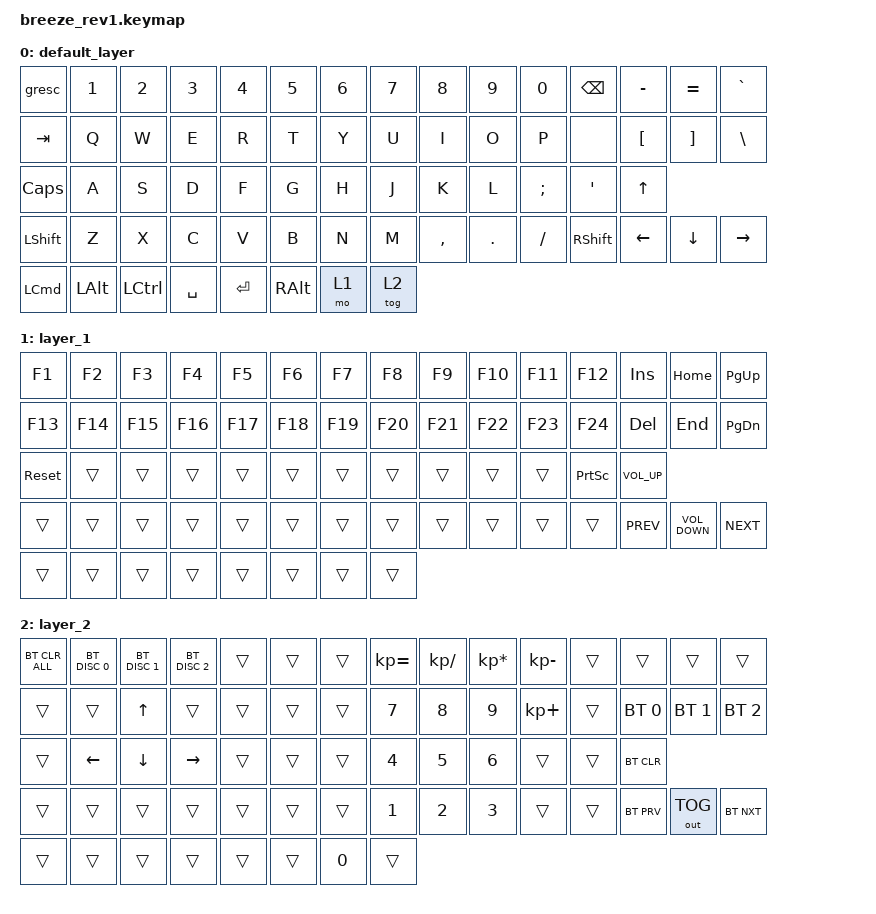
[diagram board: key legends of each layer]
/*
 * Copyright (c) 2022 The ZMK Contributors
 *
 * SPDX-License-Identifier: MIT
 */

#include <behaviors.dtsi>
#include <dt-bindings/zmk/bt.h>
#include <dt-bindings/zmk/keys.h>
#include <dt-bindings/zmk/outputs.h>

#define DEFAULT 0
#define MAC 1
#define WINMOD 2
#define MACMOD 3
#define WINPAD 4
#define MACPAD 5

/ {
    macros {
        wsshot: wsshot {
            label = "Windows screenshot";
            compatible = "zmk,behavior-macro";
            #binding-cells = <0>;
            bindings =
                <&macro_press>,
                <&kp LSHFT &kp LGUI>,
                <&macro_tap>,
                <&kp S>,
                <&macro_release>,
                <&kp LSHFT &kp LGUI>;
        };

        wpdesk: wpdesk {
            label = "Windows previous desktop";
            compatible = "zmk,behavior-macro";
            #binding-cells = <0>;
            bindings =
                <&macro_press>,
                <&kp LCTRL &kp LGUI>,
                <&macro_tap>,
                <&kp LEFT>,
                <&macro_release>,
                <&kp LCTRL &kp LGUI>;
        };

        wndesk: wndesk {
            label = "Windows next desktop";
            compatible = "zmk,behavior-macro";
            #binding-cells = <0>;
            bindings =
                <&macro_press>,
                <&kp LCTRL &kp LGUI>,
                <&macro_tap>,
                <&kp RIGHT>,
                <&macro_release>,
                <&kp LCTRL &kp LGUI>;
        };

        mpdesk: mpdesk {
            label = "Mac previous desktop";
            compatible = "zmk,behavior-macro";
            #binding-cells = <0>;
            bindings =
                <&macro_press>,
                <&kp LCTRL>,
                <&macro_tap>,
                <&kp LEFT>,
                <&macro_release>,
                <&kp LCTRL>;
        };

        mndesk: mndesk {
            label = "Mac next desktop";
            compatible = "zmk,behavior-macro";
            #binding-cells = <0>;
            bindings =
                <&macro_press>,
                <&kp LCTRL>,
                <&macro_tap>,
                <&kp RIGHT>,
                <&macro_release>,
                <&kp LCTRL>;
        };

        mmcontrol: mmcontrol {
            label = "Mac mission control";
            compatible = "zmk,behavior-macro";
            #binding-cells = <0>;
            bindings =
                <&macro_press>,
                <&kp LCTRL>,
                <&macro_tap>,
                <&kp UP>,
                <&macro_release>,
                <&kp LCTRL>;
        };

        mcapp: mcapp {
            label = "Mac windows in current app";
            compatible = "zmk,behavior-macro";
            #binding-cells = <0>;
            bindings =
                <&macro_press>,
                <&kp LCTRL>,
                <&macro_tap>,
                <&kp DOWN>,
                <&macro_release>,
                <&kp LCTRL>;
        };

        mwcycle: mwcycle {
            label = "Same app window cycle";
            compatible = "zmk,behavior-macro";
            #binding-cells = <0>;
            bindings =
                <&macro_press>,
                <&kp LGUI>,
                <&macro_tap>,
                <&kp GRAVE>,
                <&macro_release>,
                <&kp LCTRL>;
        };
    };

    keymap {
        compatible = "zmk,keymap";

        default_layer {
            // Ref: https://zmkfirmware.dev/docs/codes/
            //  ----------------------------------------                       ------------------------------------------------------------------
            // |  ESC  |  1  |  2  |  3   |  4   |  5   |                     |  6   |  7    |  8    |  9   |   0   |  \   | | INS | HOME | PGUP |
            // |-------|-----|-----|------|------|------|                     |------|-------|-------|------|-------|------| |-----|------|------|
            // |  TAB  |  Q  |  W  |  E   |  R   |  T   |                     |  Y   |  U    |  I    |  O   |   P   |  [   | | DEL | END  | PGDN |
            // |-------|-----|-----|------|------|------|                     |------|-------|-------|------|-------|------|  -----|------|----- |
            // | SHIFT |  A  |  S  |  D   |  F   |  G   |                     |  H   |  J    |  K    |  L   |   ;   |  '   |       |  UP  |      |
            // |-------|-----|-----|------|------|------|                     |------|-------|-------|------|-------|------|  -----|------|----- |
            // | LCTRL |  Z  |  X  |  C   |  V   |  B   |                     |  N   |  M    |  ,    |  .   |   /   |  =   | |LEFT | DOWN |RIGHT |
            //  ---------------- ----------------------------              ------------------------------ ---------------------------------------
            //                  |WINMOD| LGUI | LALT | SPACE |            |BACKSPC|ENTER | RALT  |WINPAD |
            //                   ----------------------------              ------------------------------

            bindings = <
&gresc        &kp N1        &kp N2            &kp N3     &kp N4     &kp N5         &kp N6  &kp N7  &kp N8     &kp N9   &kp N0    &kp BACKSPACE  &kp MINUS         &kp EQUAL          &kp GRAVE
&kp TAB       &kp Q         &kp W             &kp E      &kp R      &kp T          &kp Y   &kp U   &kp I      &kp O    &kp P     &none          &kp LEFT_BRACKET  &kp RIGHT_BRACKET  &kp BACKSLASH
&kp CAPSLOCK  &kp A         &kp S             &kp D      &kp F      &kp G          &kp H   &kp J   &kp K      &kp L    &kp SEMI  &kp APOS       &kp UP
&kp LSHIFT    &kp Z         &kp X             &kp C      &kp V      &kp B          &kp N   &kp M   &kp COMMA  &kp DOT  &kp FSLH  &kp RSHIFT     &kp LEFT          &kp DOWN           &kp RIGHT
&kp LCMD      &kp LEFT_ALT  &kp LEFT_CONTROL  &kp SPACE  &kp ENTER  &kp RIGHT_ALT  &mo 1   &tog 2
            >;
        };

        layer_1 {
            bindings = <
&kp F1      &kp F2   &kp F3   &kp F4   &kp F5   &kp F6   &kp F7   &kp F8   &kp F9   &kp F10  &kp F11  &kp F12          &kp INS          &kp HOME           &kp PG_UP
&kp F13     &kp F14  &kp F15  &kp F16  &kp F17  &kp F18  &kp F19  &kp F20  &kp F21  &kp F22  &kp F23  &kp F24          &kp DELETE       &kp END            &kp PAGE_DOWN
&sys_reset  &trans   &trans   &trans   &trans   &trans   &trans   &trans   &trans   &trans   &trans   &kp PRINTSCREEN  &kp K_VOLUME_UP
&trans      &trans   &trans   &trans   &trans   &trans   &trans   &trans   &trans   &trans   &trans   &trans           &kp C_PREV       &kp K_VOLUME_DOWN  &kp C_NEXT
&trans      &trans   &trans   &trans   &trans   &trans   &trans   &trans
            >;
        };

        layer_2 {
            bindings = <
&bt BT_CLR_ALL  &bt BT_DISC 0   &bt BT_DISC 1   &bt BT_DISC 2    &trans  &trans  &trans        &kp KP_EQUAL  &kp KP_DIVIDE  &kp KP_MULTIPLY  &kp KP_SUBTRACT  &trans  &trans        &trans        &trans
&trans          &trans          &kp UP_ARROW    &trans           &trans  &trans  &trans        &kp NUMBER_7  &kp NUMBER_8   &kp NUMBER_9     &kp KP_PLUS      &trans  &bt BT_SEL 0  &bt BT_SEL 1  &bt BT_SEL 2
&trans          &kp LEFT_ARROW  &kp DOWN_ARROW  &kp RIGHT_ARROW  &trans  &trans  &trans        &kp NUMBER_4  &kp NUMBER_5   &kp NUMBER_6     &trans           &trans  &bt BT_CLR
&trans          &trans          &trans          &trans           &trans  &trans  &trans        &kp NUMBER_1  &kp NUMBER_2   &kp NUMBER_3     &trans           &trans  &bt BT_PRV    &out OUT_TOG  &bt BT_NXT
&trans          &trans          &trans          &trans           &trans  &trans  &kp NUMBER_0  &trans
            >;
        };
    };
};
